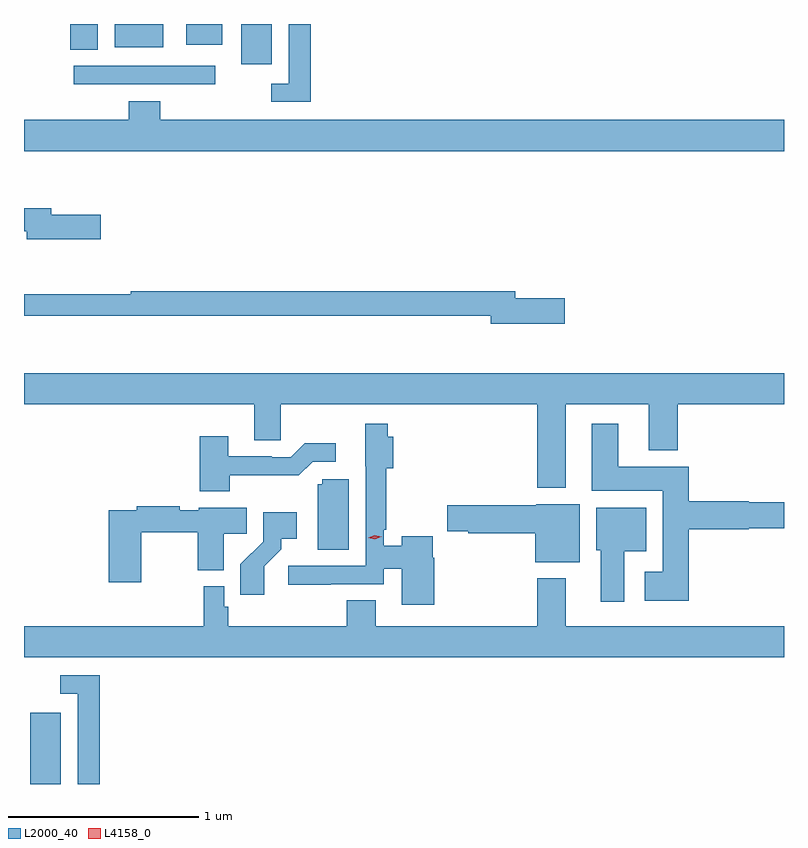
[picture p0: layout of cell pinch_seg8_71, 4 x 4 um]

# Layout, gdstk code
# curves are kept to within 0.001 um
import gdstk
lib = gdstk.Library(unit=1e-6, precision=1e-09)
def R(c, l, rs):  # rectangles x0, y0, x1, y1
    for r in rs: c.add(gdstk.rectangle(r[:2], r[2:], *l))
def P(c, l, *ps):  # polygons
    for p in ps: c.add(gdstk.Polygon(p, *l))
L2000_40 = (2000, 40)
L4158_0 = (4158, 0)

pinch_seg8_71 = lib.new_cell('pinch_seg8_71')
R(pinch_seg8_71, L2000_40, [(986.318,1101.181,986.479,1101.556), (986.547,1104.864,987.292,1104.96), (987.428,1104.969,987.589,1105.181), (986.528,1105.045,986.674,1105.181), (986.762,1105.058,987.019,1105.181), (987.14,1105.073,987.328,1105.181)])
P(pinch_seg8_71, L2000_40, [(987.794,1105.181),(987.678,1105.181),(987.678,1104.867),(987.585,1104.867),(987.585,1104.771),(987.794,1104.771)],
  [(990.285,1104.676),(987.002,1104.676),(987.002,1104.775),(986.837,1104.775),(986.837,1104.676),(986.285,1104.676),(986.285,1104.512),(990.285,1104.512)],
  [(986.689,1104.177),(986.428,1104.177),(986.428,1104.211),(986.285,1104.211),(986.285,1104.09),(986.3,1104.09),(986.3,1104.047),(986.689,1104.047)],
  [(989.131,1103.738),(988.87,1103.738),(988.87,1103.774),(986.846,1103.774),(986.846,1103.759),(986.285,1103.759),(986.285,1103.646),(988.742,1103.646),(988.742,1103.603),(989.131,1103.603)],
  [(989.137,1103.18),(989.573,1103.18),(989.573,1102.937),(989.726,1102.937),(989.726,1103.18),(990.285,1103.18),(990.285,1103.344),(986.285,1103.344),(986.285,1103.18),(987.497,1103.18),(987.497,1102.99),(987.636,1102.99),(987.636,1103.18),(988.985,1103.18),(988.985,1102.739),(989.137,1102.739)],
  [(989.783,1102.523),(990.099,1102.523),(990.099,1102.528),(990.285,1102.528),(990.285,1102.664),(990.099,1102.664),(990.099,1102.67),(989.783,1102.67),(989.783,1102.852),(989.413,1102.852),(989.413,1103.077),(989.273,1103.077),(989.273,1102.724),(989.648,1102.724),(989.648,1102.297),(989.553,1102.297),(989.553,1102.145),(989.783,1102.145)],
  [(988.445,1102.373),(988.435,1102.373),(988.435,1102.486),(988.274,1102.486),(988.274,1102.435),(988.179,1102.435),(988.179,1102.519),(988.192,1102.519),(988.192,1102.843),(988.229,1102.843),(988.229,1103.008),(988.199,1103.008),(988.199,1103.077),(988.082,1103.077),(988.082,1102.854),(988.083,1102.854),(988.083,1102.329),(987.675,1102.329),(987.675,1102.231),(987.899,1102.231),(987.899,1102.233),(988.179,1102.233),(988.179,1102.314),(988.274,1102.314),(988.274,1102.125),(988.445,1102.125)],
  [(987.369,1102.806),(987.731,1102.805),(987.804,1102.878),(987.925,1102.878),(987.925,1102.975),(987.763,1102.975),(987.69,1102.902),(987.59,1102.902),(987.59,1102.905),(987.361,1102.905),(987.361,1103.011),(987.209,1103.011),(987.209,1102.721),(987.369,1102.721)],
  [(987.994,1102.785),(987.855,1102.785),(987.855,1102.758),(987.83,1102.758),(987.83,1102.414),(987.994,1102.414)],
  [(989.209,1102.654),(988.98,1102.654),(988.98,1102.649),(988.512,1102.649),(988.512,1102.511),(988.624,1102.511),(988.624,1102.502),(988.976,1102.502),(988.976,1102.349),(989.209,1102.349)],
  [(986.902,1102.507),(987.2,1102.507),(987.2,1102.307),(987.337,1102.307),(987.337,1102.498),(987.458,1102.498),(987.458,1102.636),(987.204,1102.636),(987.204,1102.623),(987.104,1102.623),(987.104,1102.643),(986.878,1102.643),(986.878,1102.623),(986.732,1102.623),(986.732,1102.242),(986.902,1102.242)],
  [(989.443,1102.406),(989.56,1102.406),(989.56,1102.636),(989.297,1102.636),(989.297,1102.41),(989.321,1102.41),(989.321,1102.14),(989.443,1102.14)],
  [(987.55,1102.327),(987.64,1102.417),(987.64,1102.472),(987.721,1102.472),(987.721,1102.612),(987.543,1102.612),(987.543,1102.457),(987.424,1102.338),(987.424,1102.176),(987.55,1102.176)],
  [(990.285,1102.012),(989.137,1102.012),(989.137,1102.264),(988.985,1102.264),(988.985,1102.012),(988.135,1102.012),(988.135,1102.148),(987.983,1102.148),(987.983,1102.012),(987.359,1102.012),(987.359,1102.113),(987.339,1102.113),(987.339,1102.222),(987.231,1102.222),(987.231,1102.012),(986.285,1102.012),(986.285,1101.848),(990.285,1101.848)],
  [(986.684,1101.753),(986.475,1101.753),(986.475,1101.657),(986.568,1101.657),(986.568,1101.181),(986.684,1101.181)])
P(pinch_seg8_71, L4158_0, [(988.132,1102.47),(988.096,1102.478),(988.096,1102.478),(988.096,1102.478),(988.131,1102.49),(988.166,1102.482),(988.167,1102.482),(988.166,1102.482)])

lib.write_gds('pinch_seg8_71.gds')
